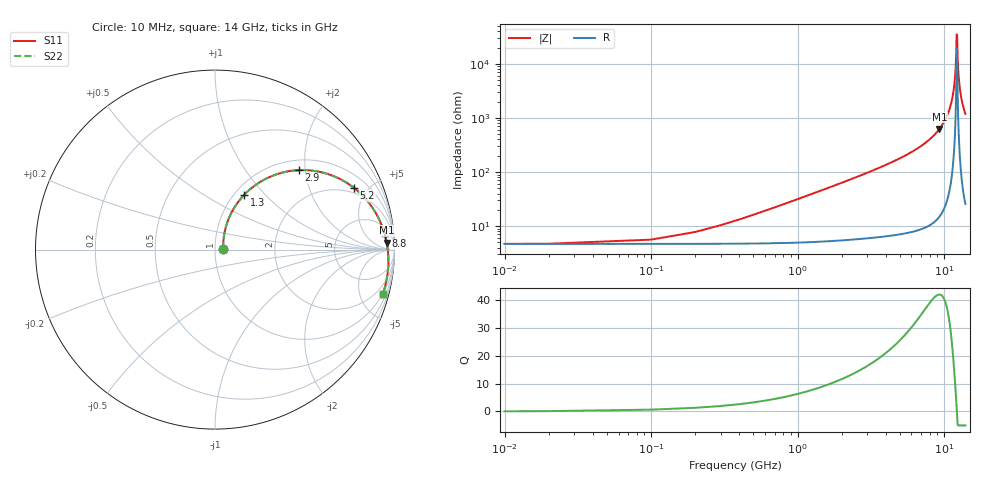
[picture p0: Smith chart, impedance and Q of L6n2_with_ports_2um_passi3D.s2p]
#  GHZ S DB R 50.0
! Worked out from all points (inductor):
!   142 points, 10 MHz to 14 GHz, reference 50 ohm
!   read as one part in series: L = 4.93 nH near 500 MHz
!   highest Q = 41.9 at 9.3 GHz (marker M1), where L = 10.7 nH
!   self-resonance near 12.2 GHz
!   S11 on the Smith chart (normalised r, x): 10 MHz: 1.09, +0.01; 1.3 GHz: 1.11, +0.77; 2.9 GHz: 1.22, +1.84; 5.2 GHz: 1.67, +4.08; 8.8 GHz: 12, +18; 14 GHz: 0.98, -7.52
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0.01  -26.97 3.3  -0.40 -0.2  -0.40 -0.2  -26.97 3.3
0.6  -15.40 65.8  -0.58 -10.7  -0.58 -10.7  -15.40 65.8
1.3  -9.17 61.8  -1.10 -22.1  -1.10 -22.1  -9.18 61.8
2.4  -4.91 49.0  -2.37 -37.6  -2.37 -37.6  -4.91 49.0
2.9  -3.83 43.5  -3.07 -43.5  -3.07 -43.5  -3.83 43.5
4.7  -1.75 27.5  -5.96 -60.5  -5.96 -60.5  -1.75 27.5
5.2  -1.44 23.9  -6.84 -64.2  -6.84 -64.2  -1.44 23.9
7.1  -0.72 12.6  -10.53 -76.0  -10.53 -76.0  -0.72 12.6
8.8  -0.43 4.5  -14.70 -84.2  -14.70 -84.2  -0.43 4.5
9.3  -0.38 2.4  -16.24 -86.3  -16.24 -86.3  -0.38 2.3
9.4  -0.37 1.9  -16.57 -86.7  -16.57 -86.7  -0.37 1.9
10.9  -0.28 -4.0  -23.52 -92.1  -23.52 -92.1  -0.28 -4.0
11.7  -0.26 -6.9  -31.53 -93.2  -31.53 -93.2  -0.26 -6.9
12  -0.26 -8.0  -38.43 -90.3  -38.43 -90.3  -0.26 -8.0
12.1  -0.26 -8.4  -42.81 -85.8  -42.81 -85.8  -0.26 -8.4
12.2  -0.26 -8.7  -51.19 -64.6  -51.19 -64.6  -0.26 -8.7
12.3  -0.26 -9.1  -50.73 49.4  -50.73 49.4  -0.26 -9.1
12.4  -0.26 -9.4  -42.66 68.9  -42.66 68.9  -0.26 -9.4
12.5  -0.26 -9.8  -38.41 73.2  -38.41 73.2  -0.26 -9.8
12.8  -0.26 -10.8  -31.71 76.0  -31.71 76.0  -0.26 -10.8
13.3  -0.27 -12.5  -26.22 75.8  -26.22 75.8  -0.27 -12.5
14  -0.29 -14.9  -21.92 74.1  -21.92 74.1  -0.29 -14.9
